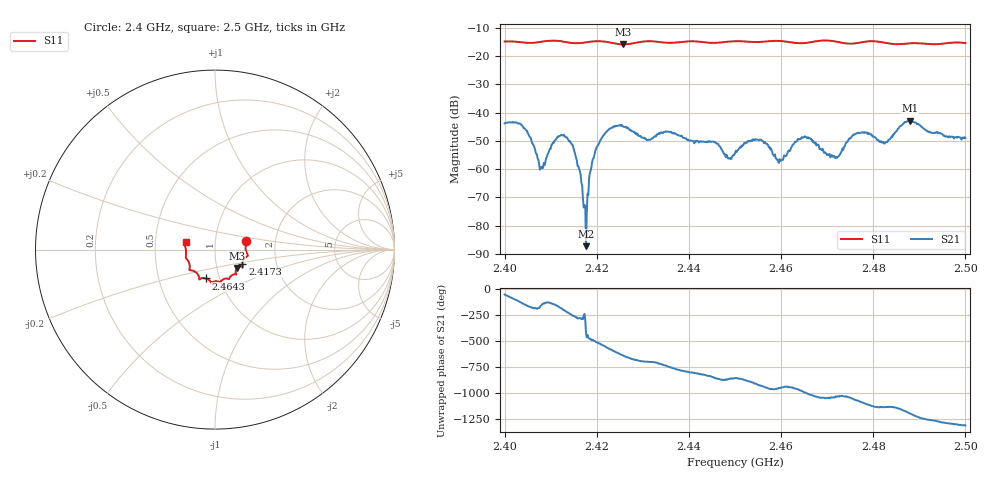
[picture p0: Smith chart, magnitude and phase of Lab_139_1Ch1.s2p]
# Hz S RI R 50
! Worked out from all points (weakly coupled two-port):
!   601 points, 2.4 GHz to 2.5 GHz, reference 50 ohm
!   highest |S21| = -42.90 dB at 2.488 GHz (marker M1); lowest = -87.2 dB at 2.4177 GHz (marker M2)
!   lowest |S11| = -15.9 dB at 2.4257 GHz (marker M3), VSWR 1.38, Z = 62.5 - j13.1 ohm
!   |S11| at or under -10 dB: start of sweep to end of sweep
!   S12 and S22 are empty: the file has one direction only
!   S11 on the Smith chart (normalised r, x): 2.4 GHz: 1.41, +0.14; 2.4173 GHz: 1.34, -0.23; 2.4643 GHz: 0.86, -0.28; 2.5 GHz: 0.72, +0.06
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2.4e9  0.1733 0.0495  0.00347 -0.00545  0 0  0 0
2.404333e9  0.1712 0.0214  -0.00467 -0.00243  0 0  0 0
2.408e9  0.1777 -0.0205  -0.00104 -0.00036  0 0  0 0
2.413167e9  0.1724 -0.0414  -0.00313 0.00213  0 0  0 0
2.415e9  0.1592 -0.0555  -0.000254 0.00224  0 0  0 0
2.416667e9  0.153 -0.0744  0.000215 0.000531  0 0  0 0
2.417333e9  0.1523 -0.0817  -0.000103 0.000207  0 0  0 0
2.417667e9  0.1525 -0.0852  1.9e-05 -3.92e-05  0 0  0 0
2.418833e9  0.1534 -0.0941  -0.000762 -0.000744  0 0  0 0
2.420167e9  0.1546 -0.0975  -0.0024 -0.000897  0 0  0 0
2.425667e9  0.1229 -0.1023  0.00125 0.00558  0 0  0 0
2.433333e9  0.1132 -0.137  0.00422 7.89e-05  0 0  0 0
2.45e9  0.0293 -0.1808  -0.00145 -0.00124  0 0  0 0
2.455167e9  0.000527 -0.1769  -0.00292 0.0014  0 0  0 0
2.459833e9  -0.0234 -0.1829  -0.000803 0.00115  0 0  0 0
2.464333e9  -0.0499 -0.1606  -0.000585 0.00341  0 0  0 0
2.466667e9  -0.0759 -0.1598  0.00184 0.00279  0 0  0 0
2.471833e9  -0.0878 -0.1577  0.00113 0.00108  0 0  0 0
2.4765e9  -0.1217 -0.1178  0.00433 0.000405  0 0  0 0
2.483333e9  -0.1408 -0.09  0.0019 -0.00272  0 0  0 0
2.488e9  -0.1597 -0.0508  -0.00362 -0.00618  0 0  0 0
2.5e9  -0.1638 0.0426  -0.00204 0.00293  0 0  0 0
